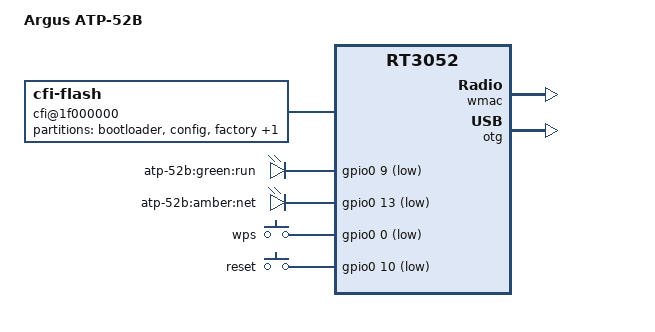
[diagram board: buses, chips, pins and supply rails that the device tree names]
/dts-v1/;

#include "rt3050.dtsi"

/ {
	compatible = "ATP-52B", "ralink,rt3052-soc";
	model = "Argus ATP-52B";

	cfi@1f000000 {
		compatible = "cfi-flash";
		reg = <0x1f000000 0x800000>;
		bank-width = <2>;
		device-width = <2>;
		#address-cells = <1>;
		#size-cells = <1>;

		partition@0 {
			label = "bootloader";
			reg = <0x0 0x30000>;
			read-only;
		};

		partition@30000 {
			label = "config";
			reg = <0x30000 0x10000>;
		};

		factory: partition@40000 {
			label = "factory";
			reg = <0x40000 0x10000>;
		};

		partition@50000 {
			label = "firmware";
			reg = <0x50000 0x7a0000>;
		};
	};

	gpio-leds {
		compatible = "gpio-leds";

		run {
			label = "atp-52b:green:run";
			gpios = <&gpio0 9 1>;
		};

		net {
			label = "atp-52b:amber:net";
			gpios = <&gpio0 13 1>;
		};
	};

	gpio-keys-polled {
		compatible = "gpio-keys-polled";
		#address-cells = <1>;
		#size-cells = <0>;
		poll-interval = <20>;

		wps {
			label = "wps";
			gpios = <&gpio0 0 1>;
			linux,code = <0x211>;
		};

		reset {
			label = "reset";
			gpios = <&gpio0 10 1>;
			linux,code = <0x198>;
		};
	};
};

&pinctrl {
	state_default: pinctrl0 {
		gpio {
			ralink,group = "i2c", "jtag", "rgmii", "mdio", "uartf";
			ralink,function = "gpio";
		};
	};
};


&ethernet {
	mtd-mac-address = <&factory 0x4>;
};

&esw {
	mediatek,portmap = <0x3e>;
};

&wmac {
	ralink,mtd-eeprom = <&factory 0>;
};

&otg {
	status = "okay";
};
